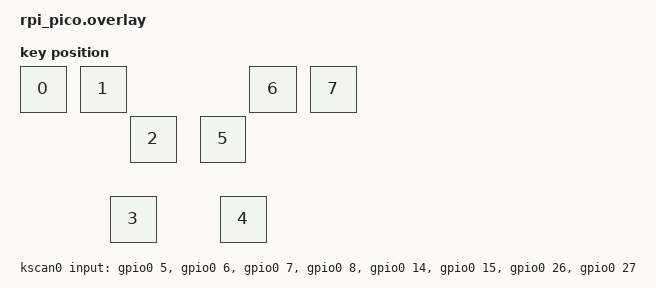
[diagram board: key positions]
#include <dt-bindings/zmk/matrix_transform.h>
#include <physical_layouts.dtsi>

&uart0 { status = "disabled"; };

&code_partition {
    reg = <0x100 (DT_SIZE_M(2) - 0x100 - DT_SIZE_K(512))>;
};

&flash0 {
    partitions {
        storage_partition: partition@180000 {
            reg = <0x180000 DT_SIZE_K(512)>;
            read-only;
        };
    };
};

/ {
    chosen {
        zmk,kscan = &kscan0;
    };

    kscan0: kscan {
        compatible = "zmk,kscan-gpio-direct";
        input-gpios =
            <&gpio0 5 (GPIO_ACTIVE_LOW | GPIO_PULL_UP)>,
            <&gpio0 6 (GPIO_ACTIVE_LOW | GPIO_PULL_UP)>,
            <&gpio0 7 (GPIO_ACTIVE_LOW | GPIO_PULL_UP)>,
            <&gpio0 8 (GPIO_ACTIVE_LOW | GPIO_PULL_UP)>,
            <&gpio0 14 (GPIO_ACTIVE_LOW | GPIO_PULL_UP)>,
            <&gpio0 15 (GPIO_ACTIVE_LOW | GPIO_PULL_UP)>,
            <&gpio0 26 (GPIO_ACTIVE_LOW | GPIO_PULL_UP)>,
            <&gpio0 27 (GPIO_ACTIVE_LOW | GPIO_PULL_UP)>;
    };

    default_transform: matrix_transform {
        compatible = "zmk,matrix-transform";
        rows = <1>;
        columns = <8>;
        map = <0 1 2 3 4 5 6 7>;
    };

    physical_layout0: physical_layout0 {
        compatible = "zmk,physical-layout";
        display-name = "Default Layout";
        kscan = <&kscan0>;
        transform = <&default_transform>;
        keys  //                     w   h    x    y     rot    rx    ry
            = <&key_physical_attrs 100 100    0    0       0     0     0>
            , <&key_physical_attrs 100 100  120    0       0     0     0>
            , <&key_physical_attrs 100 100  220  100       0     0     0>
            , <&key_physical_attrs 100 100  180  260       0     0     0>
            , <&key_physical_attrs 100 100  400  260       0     0     0>
            , <&key_physical_attrs 100 100  360  100       0     0     0>
            , <&key_physical_attrs 100 100  460    0       0     0     0>
            , <&key_physical_attrs 100 100  580    0       0     0     0>
            ;
    };
};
